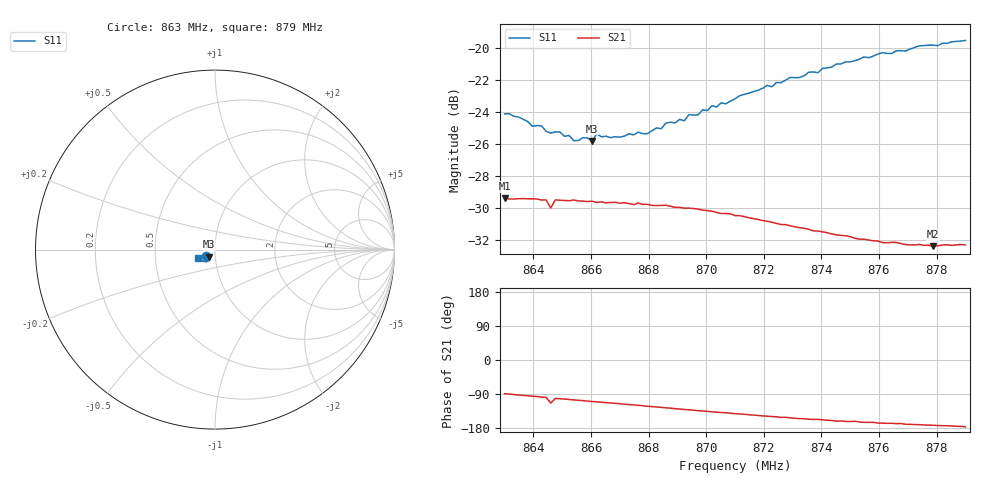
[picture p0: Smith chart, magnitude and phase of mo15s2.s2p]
# HZ S RI R 50
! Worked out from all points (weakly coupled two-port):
!   101 points, 863 MHz to 879 MHz, reference 50 ohm
!   highest |S21| = -29.42 dB at 863 MHz (marker M1); lowest = -32.4 dB at 877.88 MHz (marker M2)
!   lowest |S11| = -25.8 dB at 866.04 MHz (marker M3), VSWR 1.11, Z = 46.7 - j3.66 ohm
!   |S11| at or under -10 dB: start of sweep to end of sweep
!   S12 and S22 are empty: the file has one direction only
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8.63e8  -0.0493 -0.0377  0.000691 -0.0338  0 0  0 0
8.6348e8  -0.0497 -0.0348  -0.00158 -0.0337  0 0  0 0
8.6396e8  -0.0437 -0.0362  -0.00327 -0.0335  0 0  0 0
8.6428e8  -0.0422 -0.0383  -0.00455 -0.0331  0 0  0 0
8.6444e8  -0.0409 -0.0364  -0.00508 -0.0331  0 0  0 0
8.646e8  -0.0402 -0.0361  -0.0127 -0.0288  0 0  0 0
8.6476e8  -0.0401 -0.0369  -0.00655 -0.0328  0 0  0 0
8.654e8  -0.0354 -0.037  -0.00874 -0.0322  0 0  0 0
8.6572e8  -0.0351 -0.0388  -0.00976 -0.0317  0 0  0 0
8.6604e8  -0.0329 -0.0391  -0.0111 -0.0312  0 0  0 0
8.662e8  -0.0352 -0.0406  -0.0114 -0.0308  0 0  0 0
8.67e8  -0.0309 -0.0424  -0.014 -0.0295  0 0  0 0
8.6844e8  -0.0285 -0.048  -0.0185 -0.0263  0 0  0 0
8.686e8  -0.0296 -0.05  -0.0191 -0.0259  0 0  0 0
8.6924e8  -0.0285 -0.0517  -0.0205 -0.0239  0 0  0 0
8.694e8  -0.03 -0.0539  -0.0208 -0.0236  0 0  0 0
8.6972e8  -0.0293 -0.0542  -0.0216 -0.0227  0 0  0 0
8.71e8  -0.0348 -0.0598  -0.0235 -0.0185  0 0  0 0
8.7372e8  -0.0505 -0.067  -0.0246 -0.0105  0 0  0 0
8.7644e8  -0.0723 -0.0629  -0.024 -0.00559  0 0  0 0
8.7788e8  -0.087 -0.0529  -0.0237 -0.00325  0 0  0 0
8.79e8  -0.0948 -0.0457  -0.0241 -0.0016  0 0  0 0
